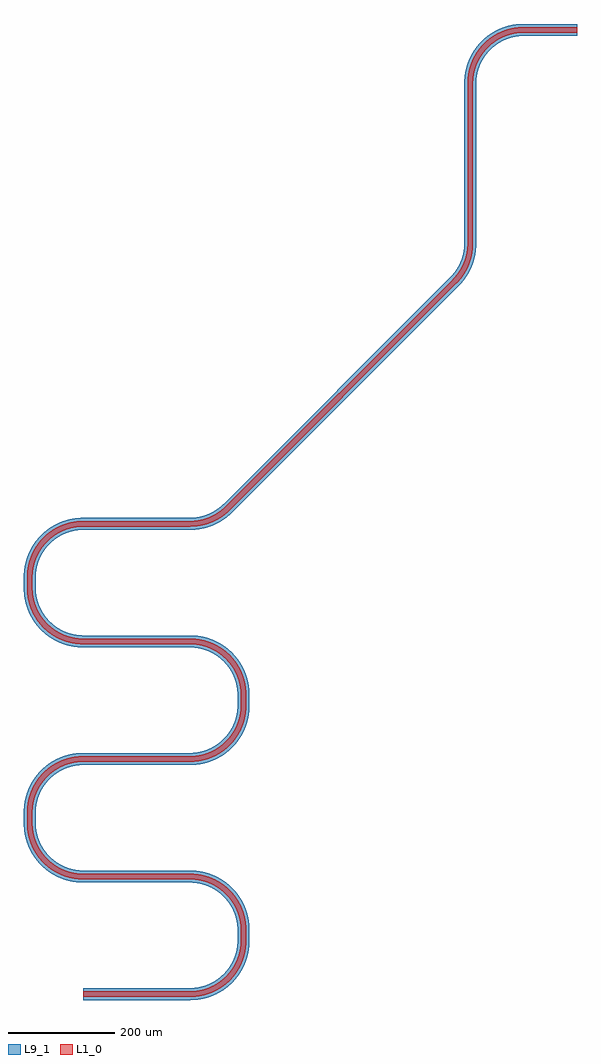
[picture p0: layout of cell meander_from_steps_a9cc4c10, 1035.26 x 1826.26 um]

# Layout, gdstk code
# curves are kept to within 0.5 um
from math import pi, radians
import gdstk
lib = gdstk.Library(unit=1e-6, precision=1e-09)
def R(c, l, rs):  # rectangles x0, y0, x1, y1
    for r in rs: c.add(gdstk.rectangle(r[:2], r[2:], *l))
def P(c, l, *ps):  # polygons
    for p in ps: c.add(gdstk.Polygon(p, *l))
L1_0 = (1, 0)
L9_1 = (9, 1)

straight_cpw_96d85e61 = lib.new_cell('straight_cpw_96d85e61')
R(straight_cpw_96d85e61, L1_0, [(0,-5,200,5)])
R(straight_cpw_96d85e61, L9_1, [(0,-11,200,11)])

bend_cpw_circular_8c324f = lib.new_cell('bend_cpw_circular_8c324fa0')
P(bend_cpw_circular_8c324f, L1_0, [(0,-5),(10.555,-4.468),(20.744,-2.931),(40.182,2.993),(58.115,12.549),(66.407,18.666),(74.059,25.567),(87.01,41.226),(92.477,50.27),(96.906,59.574),(100.402,69.267),(102.931,79.256),(104.468,89.445),(105,100),(95,100),(93.175,81.466),(87.769,63.645),(78.99,47.221),(67.344,32.994),(52.779,21.01),(36.355,12.231),(18.534,6.825),(0,5)])
P(bend_cpw_circular_8c324f, L9_1, [(0,-11),(10.88,-10.466),(21.655,-8.867),(32.222,-6.22),(42.478,-2.551),(52.325,2.107),(61.9,7.862),(70.418,14.196),(78.489,21.511),(85.804,29.582),(92.138,38.1),(97.893,47.675),(102.551,57.522),(106.22,67.778),(108.867,78.345),(110.466,89.12),(111,100),(89,100),(87.737,85.06),(83.91,70.333),(77.74,56.669),(69.503,44.409),(63.091,37.226),(55.591,30.497),(47.567,24.778),(38.76,19.883),(29.667,16.09),(19.992,13.274),(10.06,11.57),(0,11)])

straight_cpw_f2f56dc5 = lib.new_cell('straight_cpw_f2f56dc5')
R(straight_cpw_f2f56dc5, L1_0, [(0,-5,20,5)])
R(straight_cpw_f2f56dc5, L9_1, [(0,-11,20,11)])

bend_cpw_circular_5e542c = lib.new_cell('bend_cpw_circular_5e542c01')
P(bend_cpw_circular_5e542c, L1_0, [(0,-5),(17.124,-6.556),(34.357,-11.43),(49.76,-19.074),(63.887,-29.69),(71.109,-37.003),(77.081,-44.47),(82.392,-52.707),(86.826,-61.447),(90.336,-70.598),(92.934,-80.295),(94.47,-89.975),(95,-100),(105,-100),(104.414,-88.919),(102.606,-77.704),(99.845,-67.503),(95.858,-57.148),(90.933,-47.5),(84.885,-38.197),(77.889,-29.584),(70.416,-22.111),(60.081,-13.888),(49.03,-7.15),(37.234,-1.823),(24.871,2.012),(12.394,4.266),(0,5)])
P(bend_cpw_circular_5e542c, L9_1, [(0,-11),(14.94,-12.263),(29.667,-16.09),(43.331,-22.26),(55.591,-30.497),(62.774,-36.909),(69.503,-44.409),(75.222,-52.433),(80.117,-61.24),(83.91,-70.333),(86.726,-80.008),(88.43,-89.94),(89,-100),(111,-100),(110.289,-87.453),(108.226,-75.339),(104.745,-63.264),(99.921,-51.659),(94.114,-41.147),(86.858,-30.886),(78.489,-21.511),(69.332,-13.316),(54.529,-3.317),(38.314,4.178),(21.107,8.975),(3.632,10.941),(0,11)])

bend_cpw_circular_29decd = lib.new_cell('bend_cpw_circular_29decdac')
P(bend_cpw_circular_29decd, L1_0, [(0,-5),(10.589,-4.465),(20.549,-2.97),(30.575,-0.45),(40.304,3.043),(49.409,7.351),(58.5,12.806),(74.246,25.754),(67.175,32.825),(52.929,21.11),(36.466,12.277),(18.357,6.79),(0,5)])
P(bend_cpw_circular_29decd, L9_1, [(0,-11),(10.915,-10.462),(21.449,-8.908),(32.322,-6.19),(42.607,-2.497),(52.479,2.189),(61.61,7.668),(70.174,13.996),(78.489,21.511),(62.933,37.067),(49.586,26.093),(34.163,17.818),(17.639,12.765),(0,11)])

straight_cpw_402b143b = lib.new_cell('straight_cpw_402b143b')
R(straight_cpw_402b143b, L1_0, [(0,-5,600,5)])
R(straight_cpw_402b143b, L9_1, [(0,-11,600,11)])

straight_cpw_a5dfbc54 = lib.new_cell('straight_cpw_a5dfbc54')
R(straight_cpw_a5dfbc54, L1_0, [(0,-5,300,5)])
R(straight_cpw_a5dfbc54, L9_1, [(0,-11,300,11)])

straight_cpw_9f00308d = lib.new_cell('straight_cpw_9f00308d')
R(straight_cpw_9f00308d, L1_0, [(0,-5,100,5)])
R(straight_cpw_9f00308d, L9_1, [(0,-11,100,11)])

meander_from_steps_a9cc4 = lib.new_cell('meander_from_steps_a9cc4c10')
meander_from_steps_a9cc4.add(gdstk.Reference(straight_cpw_96d85e61, (0,0)))
meander_from_steps_a9cc4.add(gdstk.Reference(bend_cpw_circular_8c324f, (200,0)))
meander_from_steps_a9cc4.add(gdstk.Reference(straight_cpw_f2f56dc5, (300,100), rotation=pi/2))
meander_from_steps_a9cc4.add(gdstk.Reference(bend_cpw_circular_8c324f, (300,120), rotation=pi/2))
meander_from_steps_a9cc4.add(gdstk.Reference(straight_cpw_96d85e61, (200,220), rotation=pi))
meander_from_steps_a9cc4.add(gdstk.Reference(bend_cpw_circular_5e542c, (0,220), rotation=pi))
meander_from_steps_a9cc4.add(gdstk.Reference(straight_cpw_f2f56dc5, (-100,320), rotation=pi/2))
meander_from_steps_a9cc4.add(gdstk.Reference(bend_cpw_circular_5e542c, (-100,340), rotation=pi/2))
meander_from_steps_a9cc4.add(gdstk.Reference(straight_cpw_96d85e61, (0,440)))
meander_from_steps_a9cc4.add(gdstk.Reference(bend_cpw_circular_8c324f, (200,440)))
meander_from_steps_a9cc4.add(gdstk.Reference(straight_cpw_f2f56dc5, (300,540), rotation=pi/2))
meander_from_steps_a9cc4.add(gdstk.Reference(bend_cpw_circular_8c324f, (300,560), rotation=pi/2))
meander_from_steps_a9cc4.add(gdstk.Reference(straight_cpw_96d85e61, (200,660), rotation=pi))
meander_from_steps_a9cc4.add(gdstk.Reference(bend_cpw_circular_5e542c, (0,660), rotation=pi))
meander_from_steps_a9cc4.add(gdstk.Reference(straight_cpw_f2f56dc5, (-100,760), rotation=pi/2))
meander_from_steps_a9cc4.add(gdstk.Reference(bend_cpw_circular_5e542c, (-100,780), rotation=pi/2))
meander_from_steps_a9cc4.add(gdstk.Reference(straight_cpw_96d85e61, (0,880)))
meander_from_steps_a9cc4.add(gdstk.Reference(bend_cpw_circular_29decd, (200,880)))
meander_from_steps_a9cc4.add(gdstk.Reference(straight_cpw_402b143b, (270.711,909.289), rotation=radians(45)))
meander_from_steps_a9cc4.add(gdstk.Reference(bend_cpw_circular_29decd, (694.975,1333.553), rotation=radians(45)))
meander_from_steps_a9cc4.add(gdstk.Reference(straight_cpw_a5dfbc54, (724.264,1404.264), rotation=pi/2))
meander_from_steps_a9cc4.add(gdstk.Reference(bend_cpw_circular_5e542c, (724.264,1704.264), rotation=pi/2))
meander_from_steps_a9cc4.add(gdstk.Reference(straight_cpw_9f00308d, (824.264,1804.264)))

lib.write_gds('meander_from_steps_a9cc4c10.gds')
